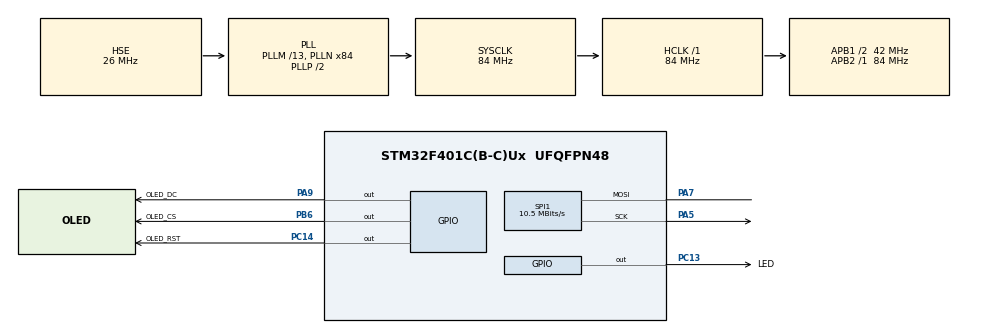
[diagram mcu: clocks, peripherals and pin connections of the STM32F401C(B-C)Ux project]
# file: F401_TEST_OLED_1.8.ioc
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Mcu.Family=STM32F4
RCC.PLLSourceVirtual=RCC_PLLSOURCE_HSE
RCC.CortexFreq_Value=84000000
PA7.Mode=Simplex_Bidirectional_Master
SPI1.VirtualType=VM_MASTER
PC13-ANTI_TAMP.GPIO_Label=LED
PA9.GPIO_Label=OLED_DC
PH1\ -\ OSC_OUT.Mode=HSE-External-Oscillator
PB6.GPIO_Label=OLED_CS
RCC.APB1CLKDivider=RCC_HCLK_DIV2
PC14-OSC32_IN.Signal=GPIO_Output
RCC.SYSCLKSource=RCC_SYSCLKSOURCE_PLLCLK
ProjectManager.StackSize=0x400
PA13.Signal=SYS_JTMS-SWDIO
PH0\ -\ OSC_IN.Mode=HSE-External-Oscillator
PH0\ -\ OSC_IN.Signal=RCC_OSC_IN
ProjectManager.TargetToolchain=STM32CubeIDE
SPI1.Direction=SPI_DIRECTION_1LINE
RCC.HCLKFreq_Value=84000000
RCC.APB2TimFreq_Value=84000000
PA9.Signal=GPIO_Output
PB6.Signal=GPIO_Output
SPI1.CalculateBaudRate=10.5 MBits/s
RCC.LSE_VALUE=32768
RCC.AHBFreq_Value=84000000
PA5.Signal=SPI1_SCK
RCC.HSE_VALUE=26000000
PH1\ -\ OSC_OUT.Signal=RCC_OSC_OUT
board=custom
PC13-ANTI_TAMP.Signal=GPIO_Output
RCC.VCOOutputFreq_Value=168000000
RCC.APB2Freq_Value=84000000
SPI1.Mode=SPI_MODE_MASTER
PA14.Mode=Serial_Wire
SPI1.DataSize=SPI_DATASIZE_8BIT
PA13.Mode=Serial_Wire
Mcu.Name=STM32F401C(B-C)Ux
RCC.48MHZClocksFreq_Value=42000000
RCC.SYSCLKFreq_VALUE=84000000
Mcu.Package=UFQFPN48
PA14.Signal=SYS_JTCK-SWCLK
ProjectManager.HeapSize=0x200
RCC.HSI_VALUE=16000000
NVIC.PriorityGroup=NVIC_PRIORITYGROUP_4
RCC.PLLM=13
RCC.PLLN=84
RCC.APB1TimFreq_Value=84000000
PC14-OSC32_IN.GPIO_Label=OLED_RST
RCC.APB1Freq_Value=42000000
SPI1.BaudRatePrescaler=SPI_BAUDRATEPRESCALER_8
PA5.Mode=Simplex_Bidirectional_Master
PA7.Signal=SPI1_MOSI

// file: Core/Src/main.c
/* USER CODE BEGIN Header */
/**
  ******************************************************************************
  * @file           : main.c
  * @brief          : Main program body
  ******************************************************************************
  * @attention
  *
  * <h2><center>&copy; Copyright (c) 2023 STMicroelectronics.
  * All rights reserved.</center></h2>
  *
  * This software component is licensed by ST under BSD 3-Clause license,
  * the "License"; You may not use this file except in compliance with the
  * License. You may obtain a copy of the License at:
  *                        opensource.org/licenses/BSD-3-Clause
  *
  ******************************************************************************
  */
/* USER CODE END Header */
#include "main.h"
#include "spi.h"
#include "gpio.h"

/* USER CODE BEGIN Includes */

#include "ST7735.h"
#include "GFX_FUNCTIONS.h"

/* USER CODE END Includes */

void SystemClock_Config(void);

int main(void)
{

  /* MCU Configuration--------------------------------------------------------*/

  /* Reset of all peripherals, Initializes the Flash interface and the Systick. */
  HAL_Init();

  /* Configure the system clock */
  SystemClock_Config();

  /* Initialize all configured peripherals */
  MX_GPIO_Init();
  MX_SPI1_Init();
  /* USER CODE BEGIN 2 */

	 	   ST7735_Init(0);
  	  	   fillScreen(BLACK);
		   testAll();
		   HAL_Delay(1000);

 		/*  X = column (WriteStreang) */

  	  	  	  /*

					  ST7735_Init(4);
					  fillScreen(BLACK);

					  ST7735_SetRotation(0);

					  ST7735_WriteString(0, 0,  "HELLO", Font_11x18, RED, BLACK);
					  ST7735_WriteString(0, 30, "WORLD", Font_11x18, GREEN, BLACK);
					  ST7735_WriteString(0, 60, "FROM", Font_11x18, BLUE, BLACK);
					  ST7735_WriteString(0, 90, "GEE-ITC01", Font_11x18, YELLOW, BLACK);

				*/

		 /*  Y = ROW (WriteStreang) */

		   /*

			  ST7735_Init(4);
			  fillScreen(BLACK);

			  ST7735_SetRotation(1);

			  ST7735_WriteString(0, 0,  "HELLO", Font_11x18, RED, BLACK);
			  ST7735_WriteString(0, 30, "WORLD", Font_11x18, GREEN, BLACK);
			  ST7735_WriteString(0, 60, "FROM", Font_11x18, BLUE, BLACK);
			  ST7735_WriteString(0, 90, "GEEea-ITC01", Font_11x18, YELLOW, BLACK);

			*/

  /* USER CODE END 2 */

  /* Infinite loop */
  while (1)
  {

    /* USER CODE BEGIN 3 */

	  /* X = column (WriteStreang) */

	  	  /*

			  ST7735_SetRotation(0);
			  ST7735_WriteString(0, 0,  "HELLO", 	 Font_11x18, RED,BLACK);
			  ST7735_WriteString(0, 30, "WORLD", 	 Font_11x18, GREEN,BLACK);
			  ST7735_WriteString(0, 60, "FROM", 	 Font_11x18, BLUE,BLACK);
			  ST7735_WriteString(0, 90, "GEE-ITC01", Font_11x18, YELLOW,BLACK);
			  HAL_Delay(5000);
			  fillScreen(BLACK);

			*/

	  /* X and Y = Row and Column (WriteStreang) */

			  ST7735_SetRotation(0);
			  ST7735_WriteString(0, 0, "HELLO", Font_11x18, RED,BLACK);
			  HAL_Delay(5000);
			  fillScreen(BLACK);

			  ST7735_SetRotation(0);
			  ST7735_WriteString(0, 20, "WORLD", Font_11x18, GREEN,BLACK);
			  HAL_Delay(5000);
			  fillScreen(BLACK);

			  ST7735_SetRotation(0);
			  ST7735_WriteString(0, 30, "FROM", Font_11x18, BLUE,BLACK);
			  HAL_Delay(1000);
			  fillScreen(BLACK);

			  ST7735_SetRotation(0);
			  ST7735_WriteString(0, 40, "GEE-ITC01", Font_11x18, YELLOW,BLACK);
			  HAL_Delay(1000);
			  fillScreen(BLACK);

  }
  /* USER CODE END 3 */
}

void SystemClock_Config(void)
{
  RCC_OscInitTypeDef RCC_OscInitStruct = {0};
  RCC_ClkInitTypeDef RCC_ClkInitStruct = {0};

  /** Configure the main internal regulator output voltage
  */
  __HAL_RCC_PWR_CLK_ENABLE();
  __HAL_PWR_VOLTAGESCALING_CONFIG(PWR_REGULATOR_VOLTAGE_SCALE2);
  /** Initializes the RCC Oscillators according to the specified parameters
  * in the RCC_OscInitTypeDef structure.
  */
  RCC_OscInitStruct.OscillatorType = RCC_OSCILLATORTYPE_HSE;
  RCC_OscInitStruct.HSEState = RCC_HSE_ON;
  RCC_OscInitStruct.PLL.PLLState = RCC_PLL_ON;
  RCC_OscInitStruct.PLL.PLLSource = RCC_PLLSOURCE_HSE;
  RCC_OscInitStruct.PLL.PLLM = 13;
  RCC_OscInitStruct.PLL.PLLN = 84;
  RCC_OscInitStruct.PLL.PLLP = RCC_PLLP_DIV2;
  RCC_OscInitStruct.PLL.PLLQ = 4;
  if (HAL_RCC_OscConfig(&RCC_OscInitStruct) != HAL_OK)
  {
    Error_Handler();
  }
  /** Initializes the CPU, AHB and APB buses clocks
  */
  RCC_ClkInitStruct.ClockType = RCC_CLOCKTYPE_HCLK|RCC_CLOCKTYPE_SYSCLK
                              |RCC_CLOCKTYPE_PCLK1|RCC_CLOCKTYPE_PCLK2;
  RCC_ClkInitStruct.SYSCLKSource = RCC_SYSCLKSOURCE_PLLCLK;
  RCC_ClkInitStruct.AHBCLKDivider = RCC_SYSCLK_DIV1;
  RCC_ClkInitStruct.APB1CLKDivider = RCC_HCLK_DIV2;
  RCC_ClkInitStruct.APB2CLKDivider = RCC_HCLK_DIV1;

  if (HAL_RCC_ClockConfig(&RCC_ClkInitStruct, FLASH_LATENCY_2) != HAL_OK)
  {
    Error_Handler();
  }
}

void Error_Handler(void)
{
  __disable_irq();
  while (1)
  {
  }
}

/************************ (C) COPYRIGHT STMicroelectronics *****END OF FILE****/
